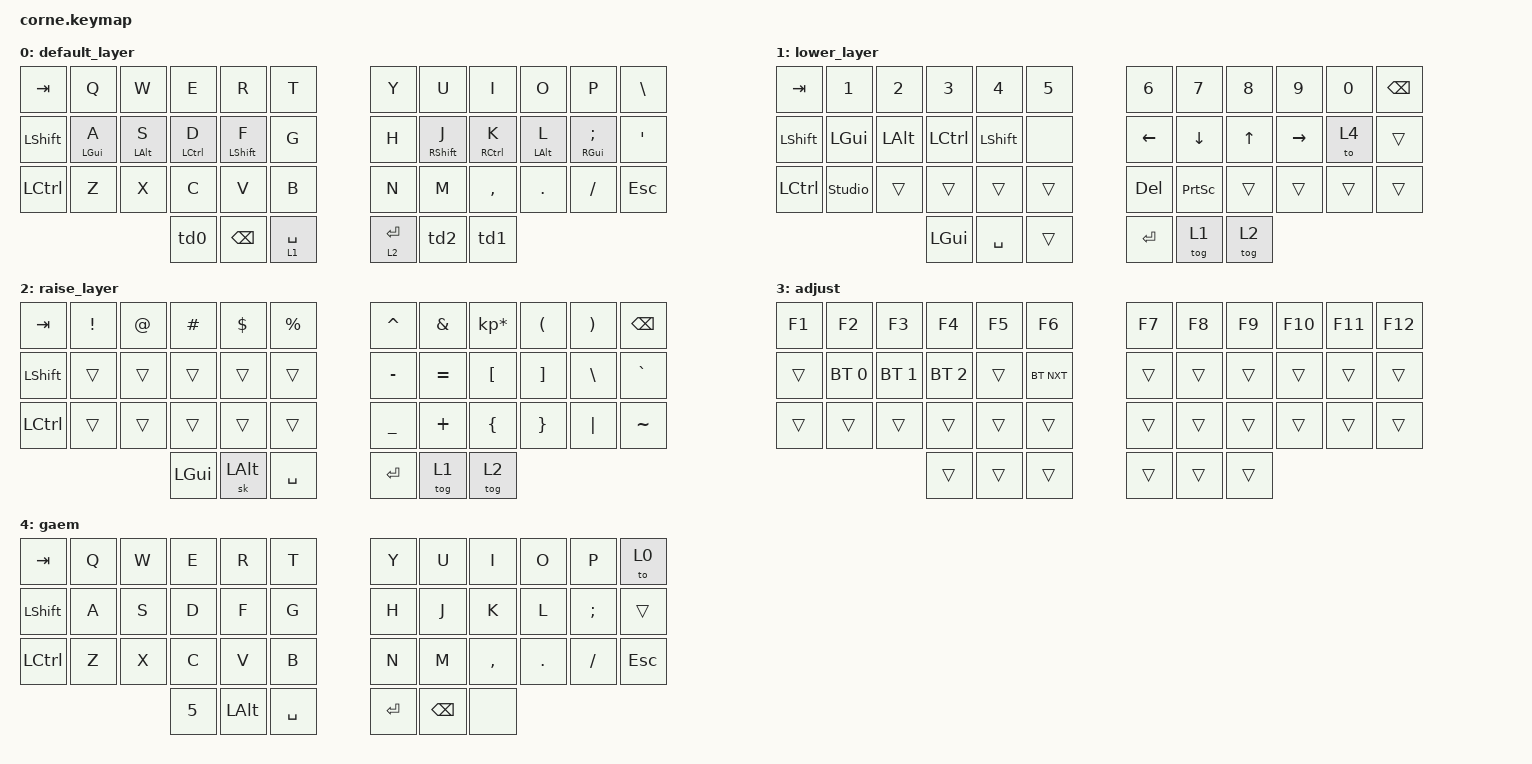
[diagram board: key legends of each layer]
/*
 * Copyright (c) 2020 The ZMK Contributors
 *
 * SPDX-License-Identifier: MIT
 */

#include <behaviors.dtsi>
#include <dt-bindings/zmk/bt.h>
#include <dt-bindings/zmk/keys.h>

/ {
    behaviors {
        td0: td0 {
            compatible = "zmk,behavior-tap-dance";
            label = "TD0";
            #binding-cells = <0>;
            bindings = <&mt LEFT_GUI F14>, <&kp LG(RET)>;
        };

        td1: td1 {
            compatible = "zmk,behavior-tap-dance";
            label = "TD1";
            #binding-cells = <0>;
            bindings = <&lt 2 MINUS>, <&tog 2>;

            tapping-term-ms = <100>;
        };

        hm: hm {
            compatible = "zmk,behavior-hold-tap";
            label = "HM";
            bindings = <&kp>, <&kp>;

            #binding-cells = <2>;
            tapping-term-ms = <150>;
            flavor = "tap-preferred";
            quick-tap-ms = <0>;
            require-prior-idle-ms = <75>;
        };

        td2: td2 {
            compatible = "zmk,behavior-tap-dance";
            label = "TD2";
            #binding-cells = <0>;
            bindings = <&sl 1>, <&tog 1>;
        };
    };

    combos {
        compatible = "zmk,combos";

        backspaceword {
            bindings = <&kp LC(BACKSPACE)>;
            key-positions = <19 20>;
        };

        backspace {
            bindings = <&kp BACKSPACE>;
            key-positions = <15 16>;
            layers = <0>;
        };
    };

    keymap {
        compatible = "zmk,keymap";

        default_layer {
            // -----------------------------------------------------------------------------------------
            // |  TAB |  Q  |  W  |  E  |  R  |  T  |   |  Y  |  U   |  I  |  O  |  P  | BKSP |
            // | CTRL |  A  |  S  |  D  |  F  |  G  |   |  H  |  J   |  K  |  L  |  ;  |  '   |
            // | SHFT |  Z  |  X  |  C  |  V  |  B  |   |  N  |  M   |  ,  |  .  |  /  | ESC  |
            //                    | GUI | LWR | SPC |   | ENT | RSE  | ALT |

            bindings = <
&kp TAB    &kp Q       &kp W       &kp E        &kp R             &kp T          &kp Y        &kp U              &kp I        &kp O       &kp P               &kp BACKSLASH
&kp LSHFT  &hm LGUI A  &hm LALT S  &hm LCTRL D  &hm LEFT_SHIFT F  &kp G          &kp H        &hm RIGHT_SHIFT J  &hm RCTRL K  &hm LALT L  &hm RGUI SEMICOLON  &kp SQT
&kp LCTRL  &kp Z       &kp X       &kp C        &kp V             &kp B          &kp N        &kp M              &kp COMMA    &kp DOT     &kp FSLH            &kp ESC
                                   &td0         &kp BACKSPACE     &lt 1 SPACE    &lt 2 ENTER  &td2               &td1
            >;
        };

        lower_layer {
            // -----------------------------------------------------------------------------------------
            // |  TAB |  1  |  2  |  3  |  4  |  5  |   |  6  |  7  |  8  |  9  |  0  | BKSP |
            // | BTCLR| BT1 | BT2 | BT3 | BT4 | BT5 |   | LFT | DWN |  UP | RGT |     |      |
            // | SHFT |     |     |     |     |     |   |     |     |     |     |     |      |
            //                    | GUI |     | SPC |   | ENT |     | ALT |

            bindings = <
&kp TAB         &kp N1    &kp N2    &kp N3     &kp N4          &kp N5    &kp N6    &kp N7           &kp N8  &kp N9     &kp N0  &kp BSPC
&kp LEFT_SHIFT  &kp LGUI  &kp LALT  &kp LCTRL  &kp LEFT_SHIFT  &none     &kp LEFT  &kp DOWN         &kp UP  &kp RIGHT  &to 4   &trans
&kp LCTRL       &studio_unlock    &trans    &trans     &trans          &trans    &kp DEL   &kp PRINTSCREEN  &trans  &trans     &trans  &trans
                                    &kp LGUI   &kp SPACE       &trans    &kp RET   &tog 1           &tog 2
            >;
        };

        raise_layer {
            // -----------------------------------------------------------------------------------------
            // |  TAB |  !  |  @  |  #  |  $  |  %  |   |  ^  |  &  |  *  |  (  |  )  | BKSP |
            // | CTRL |     |     |     |     |     |   |  -  |  =  |  [  |  ]  |  \  |  `   |
            // | SHFT |     |     |     |     |     |   |  _  |  +  |  {  |  }  | "|" |  ~   |
            //                    | GUI |     | SPC |   | ENT |     | ALT |

            bindings = <
&kp TAB         &kp EXCL  &kp AT  &kp HASH  &kp DLLR  &kp PRCNT    &kp CARET  &kp AMPS   &kp KP_MULTIPLY  &kp LPAR  &kp RPAR  &kp BSPC
&kp LEFT_SHIFT  &trans    &trans  &trans    &trans    &trans       &kp MINUS  &kp EQUAL  &kp LBKT         &kp RBKT  &kp BSLH  &kp GRAVE
&kp LCTRL       &trans    &trans  &trans    &trans    &trans       &kp UNDER  &kp PLUS   &kp LBRC         &kp RBRC  &kp PIPE  &kp TILDE
                                  &kp LGUI  &sk LALT  &kp SPACE    &kp RET    &tog 1     &tog 2
            >;
        };

        adjust {
            bindings = <
&kp F1  &kp F2        &kp F3        &kp F4        &kp F5  &kp F6        &kp F7  &kp F8  &kp F9  &kp F10  &kp F11  &kp F12
&trans  &bt BT_SEL 0  &bt BT_SEL 1  &bt BT_SEL 2  &trans  &bt BT_NXT    &trans  &trans  &trans  &trans   &trans   &trans
&trans  &trans        &trans        &trans        &trans  &trans        &trans  &trans  &trans  &trans   &trans   &trans
                                    &trans        &trans  &trans        &trans  &trans  &trans
            >;
        };

        gaem {
            bindings = <
&kp TAB    &kp Q  &kp W  &kp E   &kp R     &kp T        &kp Y      &kp U     &kp I      &kp O    &kp P     &to 0
&kp LSHFT  &kp A  &kp S  &kp D   &kp F     &kp G        &kp H      &kp J     &kp K      &kp L    &kp SEMI  &trans
&kp LCTRL  &kp Z  &kp X  &kp C   &kp V     &kp B        &kp N      &kp M     &kp COMMA  &kp DOT  &kp FSLH  &kp ESC
                         &kp N5  &kp LALT  &kp SPACE    &kp ENTER  &kp BSPC  &none
            >;
        };
    };

    conditional_layers {
        compatible = "zmk,conditional-layers";

        adj {
            if-layers = <1 2>;
            then-layer = <3>;
        };
    };
};
